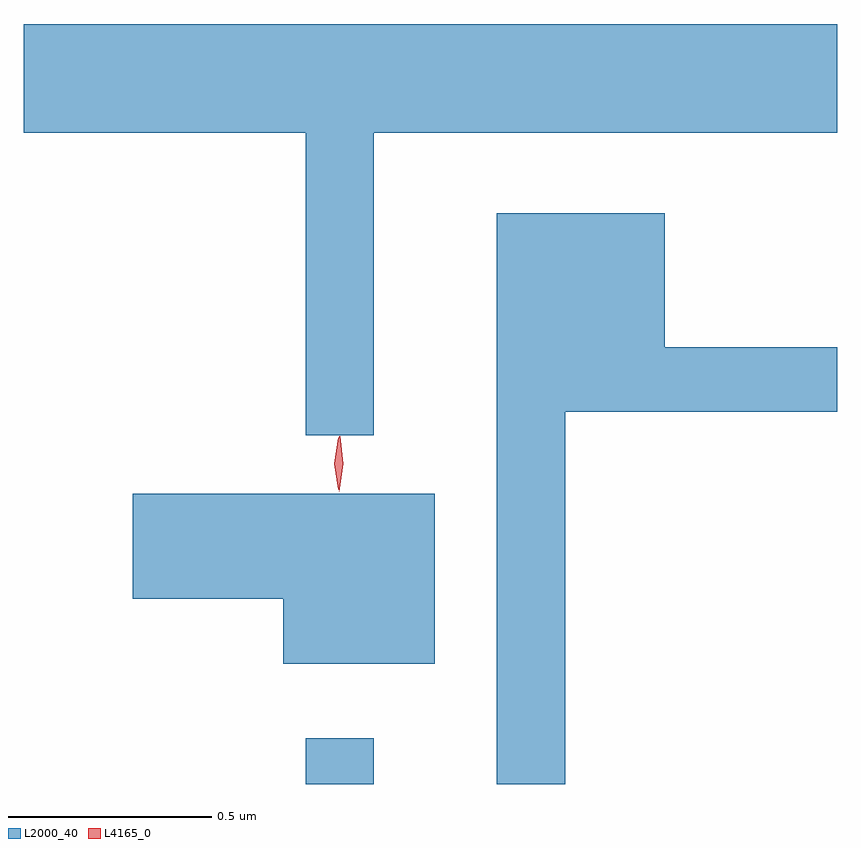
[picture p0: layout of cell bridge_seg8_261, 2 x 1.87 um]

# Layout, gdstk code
import gdstk
lib = gdstk.Library(unit=1e-6, precision=1e-09)
def R(c, l, rs):  # rectangles x0, y0, x1, y1
    for r in rs: c.add(gdstk.rectangle(r[:2], r[2:], *l))
def P(c, l, *ps):  # polygons
    for p in ps: c.add(gdstk.Polygon(p, *l))
L2000_40 = (2000, 40)
L4165_0 = (4165, 0)

bridge_seg8_261 = lib.new_cell('bridge_seg8_261')
R(bridge_seg8_261, L2000_40, [(1102.611,1823.715,1102.779,1823.828)])
P(bridge_seg8_261, L2000_40, [(1102.779,1825.316),(1103.918,1825.316),(1103.918,1825.584),(1101.918,1825.584),(1101.918,1825.316),(1102.611,1825.316),(1102.611,1824.573),(1102.779,1824.573)],
  [(1103.249,1824.631),(1103.918,1824.631),(1103.918,1824.789),(1103.494,1824.789),(1103.494,1825.119),(1103.081,1825.119),(1103.081,1823.715),(1103.249,1823.715)],
  [(1102.929,1824.429),(1102.186,1824.429),(1102.186,1824.171),(1102.556,1824.171),(1102.556,1824.011),(1102.929,1824.011)])
P(bridge_seg8_261, L4165_0, [(1102.693,1824.434),(1102.684,1824.502),(1102.694,1824.57),(1102.695,1824.57),(1102.696,1824.57),(1102.704,1824.502),(1102.694,1824.434),(1102.694,1824.434)],
  [(1102.691,1824.44),(1102.681,1824.503),(1102.691,1824.566),(1102.692,1824.567),(1102.692,1824.566),(1102.702,1824.503),(1102.692,1824.44),(1102.692,1824.44)])

lib.write_gds('bridge_seg8_261.gds')
